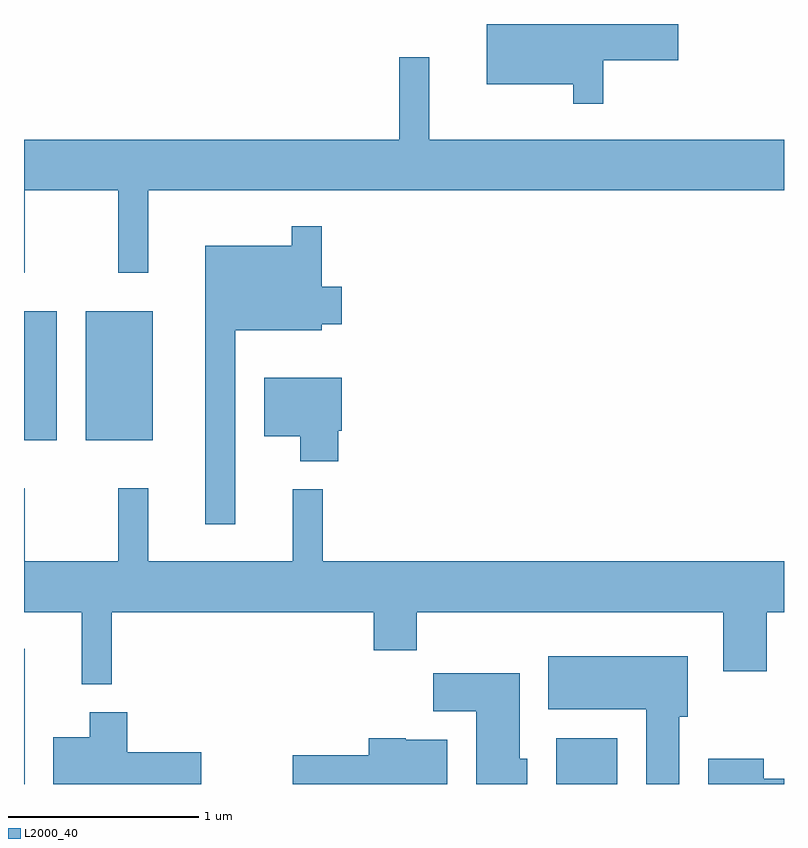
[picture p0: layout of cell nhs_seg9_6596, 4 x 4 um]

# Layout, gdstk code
import gdstk
lib = gdstk.Library(unit=1e-6, precision=1e-09)
def R(c, l, rs):  # rectangles x0, y0, x1, y1
    for r in rs: c.add(gdstk.rectangle(r[:2], r[2:], *l))
def P(c, l, *ps):  # polygons
    for p in ps: c.add(gdstk.Polygon(p, *l))
L2000_40 = (2000, 40)

nhs_seg9_6596 = lib.new_cell('nhs_seg9_6596')
R(nhs_seg9_6596, L2000_40, [(379.611,2026.432,379.614,2027.144), (382.411,2026.432,382.734,2026.674), (379.611,2028.241,379.784,2028.919), (379.936,2028.241,380.289,2028.919)])
P(nhs_seg9_6596, L2000_40, [(382.659,2030.241),(383.054,2030.241),(383.054,2030.432),(382.046,2030.432),(382.046,2030.116),(382.501,2030.116),(382.501,2030.013),(382.659,2030.013)],
  [(379.614,2029.556),(380.106,2029.556),(380.106,2029.123),(380.264,2029.123),(380.264,2029.556),(383.611,2029.556),(383.611,2029.824),(381.744,2029.824),(381.744,2030.258),(381.586,2030.258),(381.586,2029.824),(379.611,2029.824),(379.611,2029.123),(379.614,2029.123)],
  [(380.724,2028.821),(381.179,2028.821),(381.179,2028.851),(381.284,2028.851),(381.284,2029.049),(381.179,2029.049),(381.179,2029.368),(381.021,2029.368),(381.021,2029.264),(380.566,2029.264),(380.566,2027.798),(380.724,2027.798)],
  [(381.264,2028.291),(381.284,2028.291),(381.284,2028.569),(380.876,2028.569),(380.876,2028.261),(381.066,2028.261),(381.066,2028.131),(381.264,2028.131)],
  [(380.074,2027.336),(381.451,2027.336),(381.451,2027.136),(381.679,2027.136),(381.679,2027.336),(383.291,2027.336),(383.291,2027.026),(383.519,2027.026),(383.519,2027.336),(383.611,2027.336),(383.611,2027.604),(381.184,2027.604),(381.184,2027.983),(381.026,2027.983),(381.026,2027.604),(380.264,2027.604),(380.264,2027.988),(380.106,2027.988),(380.106,2027.604),(379.614,2027.604),(379.614,2027.988),(379.611,2027.988),(379.611,2027.336),(379.916,2027.336),(379.916,2026.958),(380.074,2026.958)],
  [(383.059,2026.786),(383.104,2026.786),(383.104,2027.104),(382.371,2027.104),(382.371,2026.826),(382.886,2026.826),(382.886,2026.432),(383.059,2026.432)],
  [(382.259,2026.564),(382.219,2026.564),(382.219,2027.014),(381.766,2027.014),(381.766,2026.816),(381.991,2026.816),(381.991,2026.432),(382.259,2026.432)],
  [(380.544,2026.599),(380.154,2026.599),(380.154,2026.809),(379.956,2026.809),(379.956,2026.679),(379.766,2026.679),(379.766,2026.432),(380.544,2026.432)],
  [(381.839,2026.664),(381.62,2026.664),(381.62,2026.674),(381.426,2026.674),(381.426,2026.584),(381.026,2026.584),(381.026,2026.432),(381.839,2026.432)],
  [(383.611,2026.459),(383.504,2026.459),(383.504,2026.564),(383.211,2026.564),(383.211,2026.432),(383.611,2026.432)])

lib.write_gds('nhs_seg9_6596.gds')
